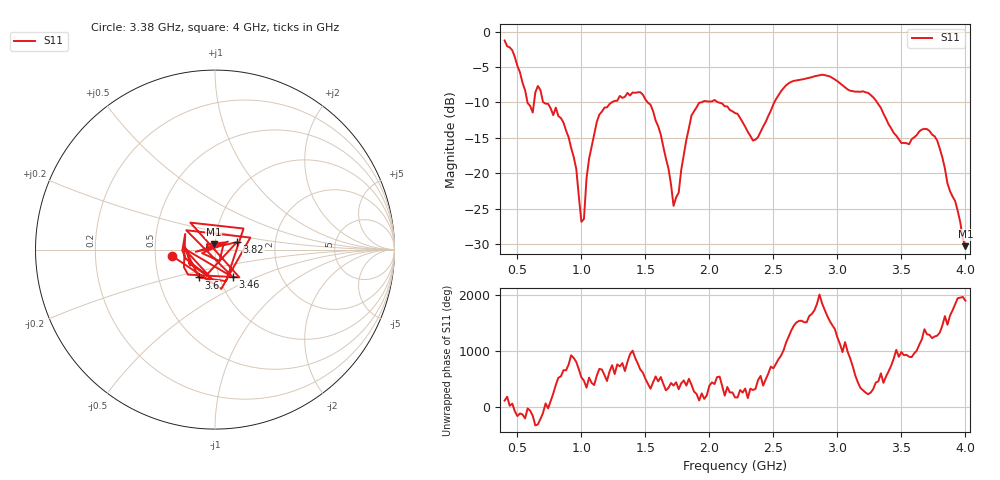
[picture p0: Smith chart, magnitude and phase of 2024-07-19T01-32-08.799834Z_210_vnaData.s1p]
!Created with skrf (http://scikit-rf.org).
# Hz S RI R 50.0
!freq ReS11 ImS11
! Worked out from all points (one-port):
!   181 points, 400 MHz to 4 GHz, reference 50 ohm
!   lowest |S11| = -30.3 dB at 4 GHz (marker M1), VSWR 1.06, Z = 49.2 + j2.93 ohm
!   |S11| at or under -10 dB: 705.6 MHz to 1.236 GHz (530.5 MHz wide, 54.6 % of centre); 2.073 GHz to 2.507 GHz (434 MHz wide, 18.9 % of centre); 3.311 GHz to end of sweep (the widest 3 of 5)
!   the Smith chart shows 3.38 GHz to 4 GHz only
!   S11 on the Smith chart (normalised r, x): 3.38 GHz: 0.61, -0.04; 3.46 GHz: 1.16, -0.37; 3.6 GHz: 0.80, -0.26; 3.82 GHz: 1.27, +0.11; 4 GHz: 0.98, +0.06
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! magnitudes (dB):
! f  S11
! 400 MHz  -1.2
! 620 MHz  -11.4
! 660 MHz  -7.7
! 860 MHz  -12.8
! 960 MHz  -19.4
! 1 GHz  -26.9
! 1.02 GHz  -26.4
! 1.06 GHz  -17.9
! 1.12 GHz  -12.8
! 1.3 GHz  -9.1
! 1.54 GHz  -10.3
! 1.62 GHz  -14.5
! 1.72 GHz  -24.6
! 1.76 GHz  -22.7
! 1.86 GHz  -11.8
! 1.92 GHz  -10.0
! 2.2 GHz  -11.5
! 2.36 GHz  -15.3
! 2.66 GHz  -6.9
! 3.1 GHz  -8.3
! 3.24 GHz  -8.6
! 3.38 GHz  -12.3
! 3.46 GHz  -14.7
! 3.56 GHz  -15.9
! 3.6 GHz  -14.9
! 3.7 GHz  -13.8
! 3.82 GHz  -17.8
! 4 GHz  -30.3
